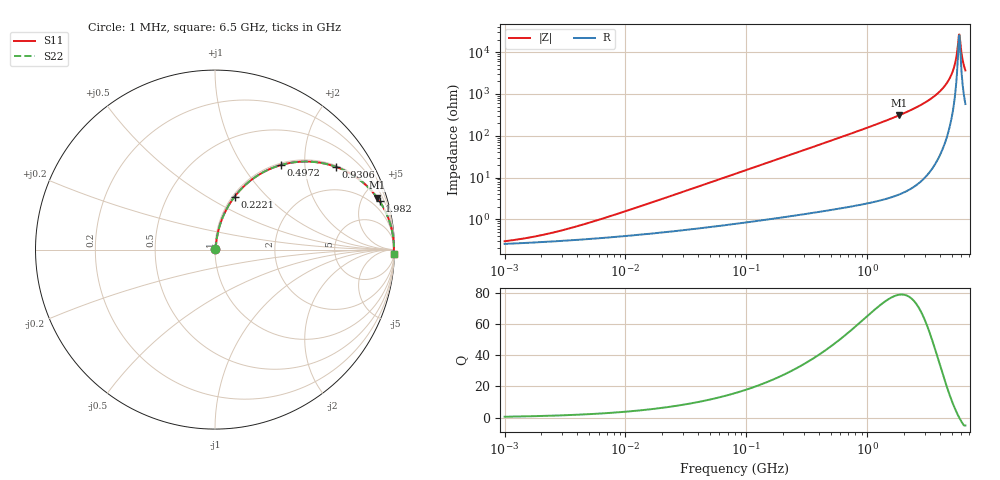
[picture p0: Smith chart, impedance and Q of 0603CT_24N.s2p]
# MHz  S  MA  R  50
!Freq  MagS11  AngS11  MagS21  AngS21  MagS12  AngS12  MagS22  AngS22
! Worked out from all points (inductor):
!   884 points, 1 MHz to 6.5 GHz, reference 50 ohm
!   read as one part in series: L = 24 nH near 7.316 MHz
!   highest Q = 78.8 at 1.849 GHz (marker M1), where L = 26.7 nH
!   self-resonance near 5.749 GHz
!   S11 on the Smith chart (normalised r, x): 1 MHz: 1.01, +0.00; 222.1 MHz: 1.02, +0.67; 497.2 MHz: 1.03, +1.51; 930.6 MHz: 1.05, +2.88; 1.982 GHz: 1.09, +6.78; 6.5 GHz: 12, -72
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1  0.00297 30.3  0.9974 -0.1  0.9974 -0.1  0.00297 30.3
2.026831  0.004162 46.9  0.9972 -0.2  0.9972 -0.2  0.004162 46.9
4.360771  0.007321 63.2  0.9967 -0.4  0.9967 -0.4  0.007321 63.2
18.82805  0.02864 78.9  0.9949 -1.6  0.9949 -1.6  0.02864 78.9
81.29189  0.121 79.4  0.985 -6.9  0.985 -6.9  0.121 79.4
222.0782  0.3149 69.7  0.9383 -18.3  0.9383 -18.3  0.3149 69.7
350.9855  0.4642 60.8  0.8735 -27.6  0.8735 -27.6  0.4642 60.8
497.207  0.5966 52.1  0.7896 -36.6  0.7896 -36.6  0.5966 52.1
930.6444  0.8155 34.5  0.566 -54.6  0.566 -54.6  0.8155 34.5
1515.413  0.9218 22.1  0.3756 -67.2  0.3756 -67.2  0.9218 22.1
1849.092  0.9484 17.8  0.3053 -71.5  0.3053 -71.5  0.9484 17.8
1982.477  0.9558 16.4  0.2821 -72.9  0.2821 -72.9  0.9558 16.4
3196.201  0.9874 8.2  0.1422 -80.8  0.1422 -80.8  0.9874 8.2
4351.077  0.9952 3.8  0.06578 -83.9  0.06578 -83.9  0.9952 3.8
4758.708  0.9961 2.6  0.04482 -83.8  0.04482 -83.8  0.9961 2.6
5101.979  0.9965 1.6  0.02879 -82.2  0.02879 -82.2  0.9965 1.6
5362.232  0.9966 1.0  0.01751 -78.3  0.01751 -78.3  0.9966 1.0
5635.759  0.9965 0.3  0.00677 -58.9  0.00677 -58.9  0.9965 0.3
5749.038  0.9964 0.1  0.003777 -19.6  0.003777 -19.6  0.9964 0.1
5923.24  0.9963 -0.3  0.006674 55.9  0.006674 55.9  0.9963 -0.3
6225.385  0.9959 -1.0  0.01738 75.8  0.01738 75.8  0.9959 -1.0
6500  0.9954 -1.5  0.02714 79.4  0.02714 79.4  0.9954 -1.5
